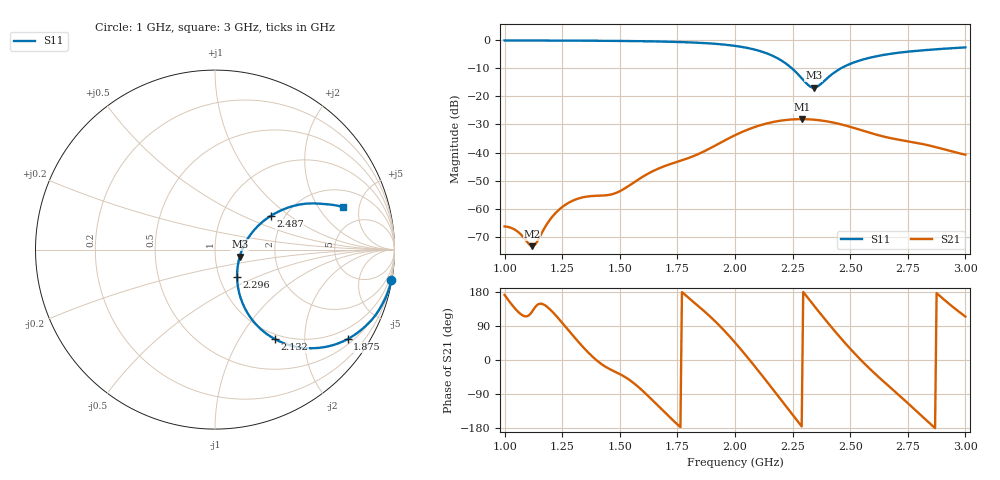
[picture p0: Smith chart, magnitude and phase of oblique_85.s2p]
! TOUCHSTONE file generated by CST MICROWAVE STUDIO
! Date and time: Tue Mar 18 00:01:38 2025
! Project name: oblique.cst
! Parameters = {Tilt=30; Fracture=1; B=12.5; D=160; F=15; Feed=2.85625; L=100; M=30; R=0.384908; S=2; Theta=90; length=57.125; wave=114.25}
! Header version: 2024
! Port assignment regex: !\s*Touchstone port\s*([0-9]+)\s*=\s*(CST MWS port|CST DES external port|CST DES block port)\s*(.+)\s* \(\"(.*)\"\)(\s*mode\s*([0-9]+))?.*
! Touchstone port assignment:
! Touchstone port 1 = CST MWS port 1 ("")
! Touchstone port 2 = CST MWS port 2 ("")
# GHz S DB R 50
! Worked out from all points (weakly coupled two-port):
!   305 points, 1 GHz to 3 GHz, reference 50 ohm
!   highest |S21| = -28.09 dB at 2.289 GHz (marker M1); lowest = -73.4 dB at 1.118 GHz (marker M2)
!   lowest |S11| = -16.9 dB at 2.342 GHz (marker M3), VSWR 1.33, Z = 65.8 - j5.17 ohm
!   |S11| at or under -10 dB: 2.247 GHz to 2.459 GHz (211.4 MHz wide, 8.99 % of centre)
!   S12 and S22 are empty: the file has one direction only
!   S11 on the Smith chart (normalised r, x): 1 GHz: 0, -12; 1.875 GHz: 0.65, -3.15; 2.132 GHz: 0.92, -1.44; 2.296 GHz: 1.21, -0.39; 2.487 GHz: 1.70, +0.73; 3 GHz: 3.13, +3.40
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1  -0.02 -9.8  -66.36 171.7  -200.00 0.0  -200.00 0.0
1.05263  -0.03 -10.5  -67.96 130.9  -200.00 0.0  -200.00 0.0
1.11842  -0.03 -11.4  -73.41 126.9  -200.00 0.0  -200.00 0.0
1.13816  -0.04 -11.8  -72.19 143.5  -200.00 0.0  -200.00 0.0
1.18421  -0.05 -12.5  -65.44 140.6  -200.00 0.0  -200.00 0.0
1.23026  -0.06 -13.3  -60.83 112.1  -200.00 0.0  -200.00 0.0
1.28289  -0.08 -14.2  -57.70 74.3  -200.00 0.0  -200.00 0.0
1.33553  -0.10 -15.2  -56.06 37.4  -200.00 0.0  -200.00 0.0
1.48026  -0.18 -18.4  -54.52 -31.3  -200.00 0.0  -200.00 0.0
1.67105  -0.39 -24.2  -45.61 -123.8  -200.00 0.0  -200.00 0.0
1.875  -0.99 -34.0  -39.21 124.2  -200.00 0.0  -200.00 0.0
2  -1.96 -43.3  -33.82 46.1  -200.00 0.0  -200.00 0.0
2.13158  -4.43 -56.2  -29.76 -51.8  -200.00 0.0  -200.00 0.0
2.21711  -8.03 -62.8  -28.43 -118.6  -200.00 0.0  -200.00 0.0
2.28947  -13.50 -54.1  -28.09 -175.3  -200.00 0.0  -200.00 0.0
2.29605  -14.11 -51.3  -28.09 179.5  -200.00 0.0  -200.00 0.0
2.33553  -16.80 -22.0  -28.23 149.0  -200.00 0.0  -200.00 0.0
2.34211  -16.87 -15.6  -28.28 144.0  -200.00 0.0  -200.00 0.0
2.41447  -12.50 25.8  -29.11 89.7  -200.00 0.0  -200.00 0.0
2.48684  -8.83 31.2  -30.53 38.6  -200.00 0.0  -200.00 0.0
2.67105  -4.84 26.6  -34.79 -70.9  -200.00 0.0  -200.00 0.0
3  -2.50 18.5  -40.76 114.5  -200.00 0.0  -200.00 0.0
